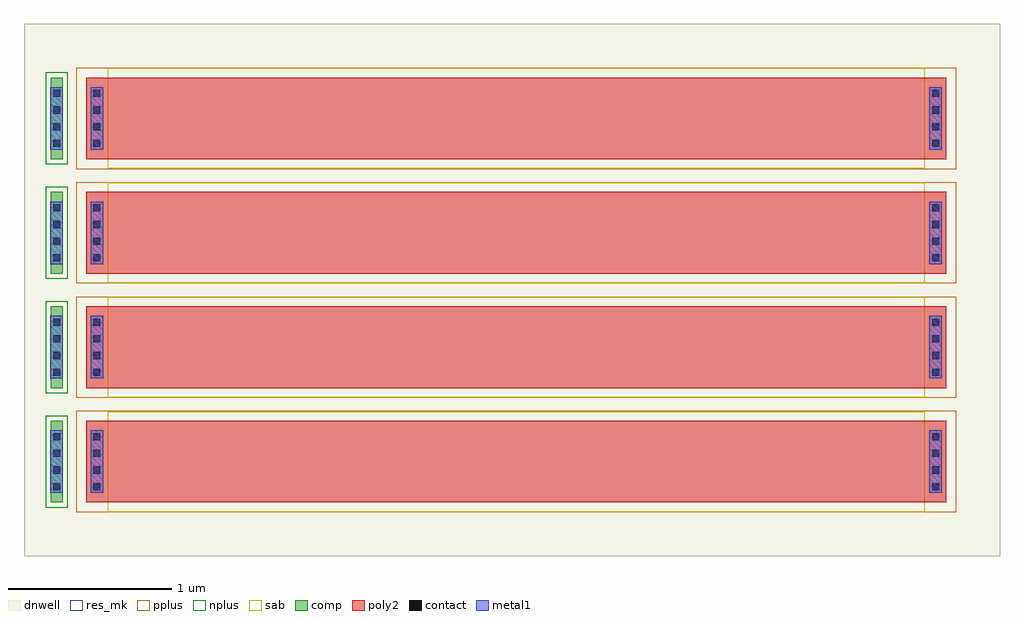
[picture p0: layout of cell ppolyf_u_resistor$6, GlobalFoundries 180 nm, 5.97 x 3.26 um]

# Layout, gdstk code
import gdstk
lib = gdstk.Library(unit=1e-6, precision=1e-09)
def R(c, l, rs):  # rectangles x0, y0, x1, y1
    for r in rs: c.add(gdstk.rectangle(r[:2], r[2:], *l))
def A(c, l, x, y, w, h, nx, ny, dx, dy):  # array of equal rectangles
    R(c, l, [(x+i*dx, y+j*dy, x+i*dx+w, y+j*dy+h) for i in range(nx) for j in range(ny)])
dnwell = (12, 0)
comp = (22, 0)
poly2 = (30, 0)
pplus = (31, 0)
nplus = (32, 0)
contact = (33, 0)
metal1 = (34, 0)
sab = (49, 0)
res_mk = (110, 5)

ppolyf_u_resistor_6 = lib.new_cell('ppolyf_u_resistor$6')
A(ppolyf_u_resistor_6, dnwell, -0.512, -0.328, 5.972, 1.156, 1, 4, 0, 0.7)
A(ppolyf_u_resistor_6, comp, -0.348, 0, 0.072, 0.5, 1, 4, 0, 0.7)
A(ppolyf_u_resistor_6, poly2, -0.132, 0, 5.264, 0.5, 1, 4, 0, 0.7)
A(ppolyf_u_resistor_6, pplus, -0.192, -0.06, 5.384, 0.62, 1, 4, 0, 0.7)
A(ppolyf_u_resistor_6, nplus, -0.38, -0.032, 0.136, 0.564, 1, 4, 0, 0.7)
A(ppolyf_u_resistor_6, contact, -0.334, 0.075, 0.044, 0.044, 1, 4, 0, 0.102)
A(ppolyf_u_resistor_6, contact, -0.088, 0.075, 0.044, 0.044, 1, 4, 0, 0.102)
A(ppolyf_u_resistor_6, contact, 5.044, 0.075, 0.044, 0.044, 1, 4, 0, 0.102)
A(ppolyf_u_resistor_6, contact, -0.334, 0.775, 0.044, 0.044, 1, 4, 0, 0.102)
A(ppolyf_u_resistor_6, contact, -0.088, 0.775, 0.044, 0.044, 1, 4, 0, 0.102)
A(ppolyf_u_resistor_6, contact, 5.044, 0.775, 0.044, 0.044, 1, 4, 0, 0.102)
A(ppolyf_u_resistor_6, contact, -0.334, 1.475, 0.044, 0.044, 1, 4, 0, 0.102)
A(ppolyf_u_resistor_6, contact, -0.088, 1.475, 0.044, 0.044, 1, 4, 0, 0.102)
A(ppolyf_u_resistor_6, contact, 5.044, 1.475, 0.044, 0.044, 1, 4, 0, 0.102)
A(ppolyf_u_resistor_6, contact, -0.334, 2.175, 0.044, 0.044, 1, 4, 0, 0.102)
A(ppolyf_u_resistor_6, contact, -0.088, 2.175, 0.044, 0.044, 1, 4, 0, 0.102)
A(ppolyf_u_resistor_6, contact, 5.044, 2.175, 0.044, 0.044, 1, 4, 0, 0.102)
A(ppolyf_u_resistor_6, metal1, -0.35, 0.059, 0.076, 0.382, 1, 4, 0, 0.7)
A(ppolyf_u_resistor_6, metal1, -0.104, 0.059, 0.076, 0.382, 1, 4, 0, 0.7)
A(ppolyf_u_resistor_6, metal1, 5.028, 0.059, 0.076, 0.382, 1, 4, 0, 0.7)
A(ppolyf_u_resistor_6, sab, 0, -0.056, 5, 0.612, 1, 4, 0, 0.7)
A(ppolyf_u_resistor_6, res_mk, 0, 0, 5, 0.5, 1, 4, 0, 0.7)

lib.write_gds('ppolyf_u_resistor_6.gds')
